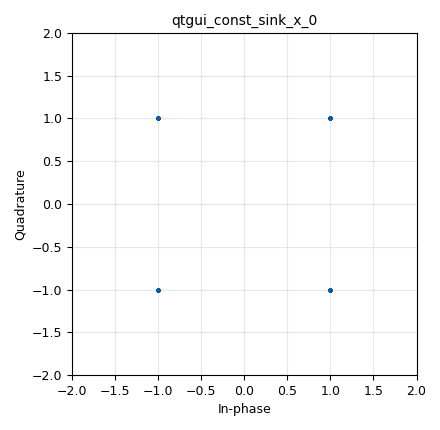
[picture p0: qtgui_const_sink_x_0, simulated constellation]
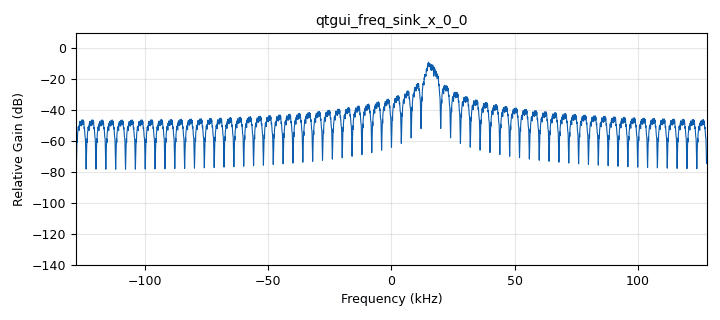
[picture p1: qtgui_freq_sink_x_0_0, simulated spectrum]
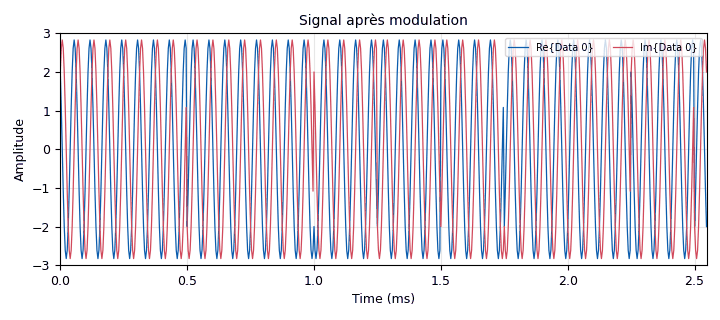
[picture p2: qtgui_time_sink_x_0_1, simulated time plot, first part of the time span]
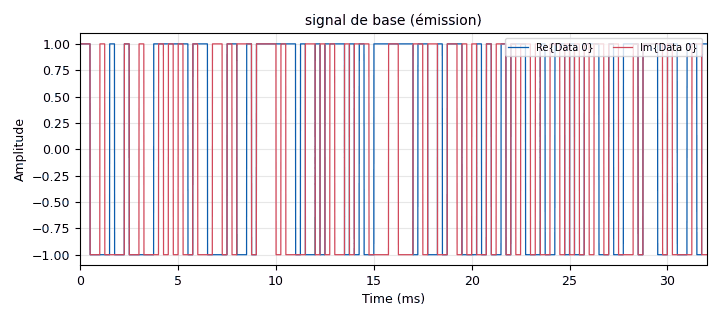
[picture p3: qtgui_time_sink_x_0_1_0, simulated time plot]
options:
  parameters:
    generate_options: qt_gui
    id: QPSK_aleatoire
    output_language: python
    title: Not titled yet
  states: {}

blocks:
- name: Fc
  id: variable
  parameters:
    value: '16000'
  states: {}
- name: Fs
  id: variable
  parameters:
    value: 4 * Fc
  states: {}
- name: Rb
  id: variable
  parameters:
    value: '8000'
  states: {}
- name: samp_rate
  id: variable
  parameters:
    value: '256000'
  states: {}
- name: symbol_rate
  id: variable
  parameters:
    value: Rb / 2
  states: {}
- name: analog_random_source_x_0
  id: analog_random_source_x
  parameters:
    max: '4'
    min: '0'
    num_samps: '1024'
    repeat: 'True'
    type: byte
  states: {}
- name: analog_sig_source_x_0
  id: analog_sig_source_x
  parameters:
    amp: '2'
    freq: Fc
    offset: '0'
    phase: '0'
    samp_rate: samp_rate
    type: complex
    waveform: analog.GR_COS_WAVE
  states: {}
- name: blocks_multiply_xx_0_1
  id: blocks_multiply_xx
  parameters:
    type: complex
  states: {}
- name: blocks_repeat_0
  id: blocks_repeat
  parameters:
    interp: int(samp_rate/symbol_rate)
    type: complex
  states: {}
- name: blocks_throttle2_0_0_1
  id: blocks_throttle2
  parameters:
    samples_per_second: samp_rate
    type: complex
  states: {}
- name: epy_block_1
  id: epy_block
  parameters:
    _source_code: |
      import numpy as np
      from gnuradio import gr

      class blk(gr.sync_block):
          def __init__(self):
              gr.sync_block.__init__(
                  self,
                  name='Mapping 4PSK',
                  in_sig=[np.uint8],
                  out_sig=[np.complex64]
              )
              # Mapping Gray : bit de poids fort -> I, bit de poids faible -> Q
              self.dico = {
                  0: 1+1j,    # 00
                  1: 1-1j,    # 01
                  2: -1+1j,   # 10
                  3: -1-1j    # 11
              }

          def work(self, input_items, output_items):
              symboles = input_items[0]
              out = output_items[0]

              for i, s in enumerate(symboles):
                  out[i] = self.dico[int(s)]

              return len(out)
  states: {}
- name: note_0
  id: note
  parameters:
    note: 4 périodes par symbole
  states: {}
- name: note_0_0
  id: note
  parameters:
    note: symbol_rate < Fc*2
  states: {}
- name: note_0_0_0
  id: note
  parameters:
    note: Rb = log2(2^M) * symbol_rate
  states: {}
- name: note_0_2
  id: note
  parameters:
    note: Fs > 2 * Fc
  states: {}
- name: osmosdr_sink_0
  id: osmosdr_sink
  parameters:
    bb_gain0: '20'
    freq0: 10e6
    gain0: '10'
    if_gain0: '20'
    sample_rate: samp_rate
    sync: sync
    type: fc32
  states: {state: disabled}
- name: qtgui_const_sink_x_0
  id: qtgui_const_sink_x
  parameters:
    size: '1024'
    type: complex
  states: {}
- name: qtgui_freq_sink_x_0_0
  id: qtgui_freq_sink_x
  parameters:
    average: '0.05'
    bw: samp_rate
    fc: '0'
    fftsize: '4096'
    norm_window: 'True'
    showports: 'True'
    type: complex
  states: {}
- name: qtgui_time_sink_x_0_1
  id: qtgui_time_sink_x
  parameters:
    name: Signal après modulation
    size: '8192'
    srate: samp_rate
    type: complex
    ymax: '3'
    ymin: '-3'
  states: {}
- name: qtgui_time_sink_x_0_1_0
  id: qtgui_time_sink_x
  parameters:
    autoscale: 'True'
    name: signal de base (émission)
    size: '8192'
    srate: samp_rate
    type: complex
    update_time: '1'
    ymax: '2'
    ymin: '-2'
  states: {}

connections:
- [analog_random_source_x_0, '0', epy_block_1, '0']
- [analog_sig_source_x_0, '0', blocks_multiply_xx_0_1, '0']
- [blocks_multiply_xx_0_1, '0', qtgui_freq_sink_x_0_0, '0']
- [blocks_multiply_xx_0_1, '0', qtgui_time_sink_x_0_1, '0']
- [blocks_repeat_0, '0', blocks_throttle2_0_0_1, '0']
- [blocks_throttle2_0_0_1, '0', blocks_multiply_xx_0_1, '1']
- [blocks_throttle2_0_0_1, '0', qtgui_const_sink_x_0, '0']
- [blocks_throttle2_0_0_1, '0', qtgui_time_sink_x_0_1_0, '0']
- [epy_block_1, '0', blocks_repeat_0, '0']

metadata:
  file_format: 1
  grc_version: 3.10.12.0
